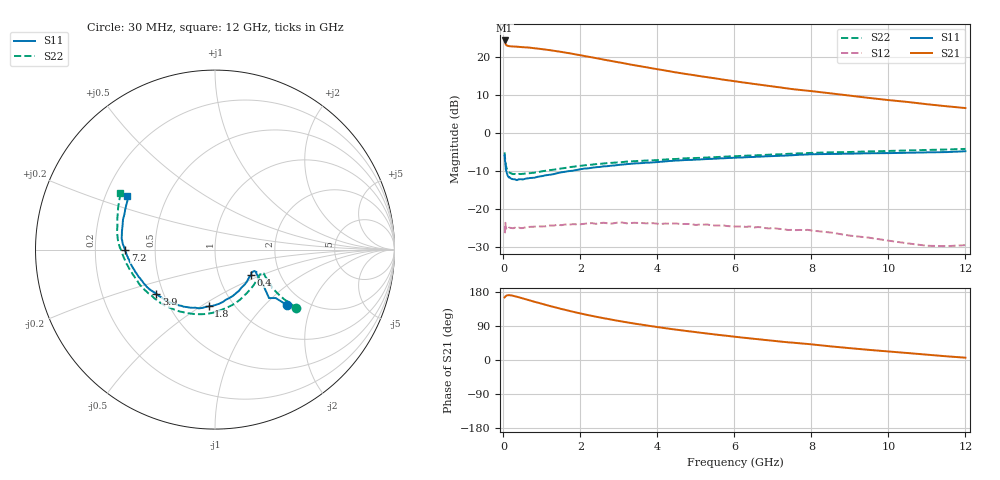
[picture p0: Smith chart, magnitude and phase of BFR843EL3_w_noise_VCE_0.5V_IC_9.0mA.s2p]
! Infineon Technologies  Discrete & RF Semiconductors
! BFR843EL3
! VCE =  0.5 V,  IC =  9.0 mA
! Common Emitter S-Parameters:  Aug 2013
# GHz  S  MA  R  50
!  f  S11  S21  S12  S22
! GHz  MAG  ANG  MAG  ANG  MAG  ANG  MAG  ANG
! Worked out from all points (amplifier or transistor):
!   103 points, 30 MHz to 12 GHz, reference 50 ohm
!   highest |S21| = 24.3 dB at 30 MHz (marker M1)
!   |S21| within 3 dB of that: start of sweep to 1.498 GHz
!   unconditionally stable (mu >= 1): 6.215 GHz to end of sweep
!   at 400 MHz: K = 0.98, MSG = 23.7 dB, |S12| = -24.9 dB
!   at 3.7 GHz: K = 0.78, MSG = 20.5 dB, |S12| = -23.8 dB
!   at 12 GHz: K = 2.90, MAG = 10.5 dB, |S12| = -29.5 dB
!   lowest NFmin = 0.88 dB at 450 MHz
!   S11 on the Smith chart (normalised r, x): 30 MHz: 1.64, -1.36; 400 MHz: 1.43, -0.43; 1.8 GHz: 0.77, -0.54; 3.9 GHz: 0.46, -0.27; 7.2 GHz: 0.33, -0.00; 12 GHz: 0.29, +0.26
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0.03  0.5066 -37.6  16.34 165.2  0.0481 30.3  0.5556 -35.5
0.04  0.4328 -38.6  15.44 166.3  0.0499 25.4  0.4729 -35.7
0.06  0.332 -36.2  14.48 168.6  0.056 9.9  0.3829 -33.7
0.08  0.3066 -34.1  14.11 170.1  0.0551 11.5  0.3465 -31.1
0.12  0.2694 -30.4  13.86 171.0  0.0552 9.6  0.3111 -27.1
0.2  0.2502 -28.5  13.66 170.4  0.0563 6.4  0.2935 -26.0
0.4  0.2457 -34.6  13.46 165.5  0.0569 5.0  0.2887 -32.8
0.8  0.2575 -54.6  12.92 153.8  0.0586 3.5  0.3 -53.4
1.1  0.2772 -69.3  12.39 145.5  0.0593 4.5  0.3181 -68.3
1.5  0.303 -86.0  11.56 134.8  0.0613 3.3  0.3402 -85.5
1.8  0.3179 -96.3  10.9 127.5  0.0632 3.8  0.3586 -96.1
2.1  0.3394 -105.4  10.21 120.6  0.0639 2.3  0.3741 -106.2
2.6  0.3629 -118.8  9.177 110.4  0.066 0.1  0.3964 -119.3
3  0.3796 -127.3  8.414 103.0  0.0668 -2.4  0.4102 -128.0
3.9  0.4099 -142.9  6.988 88.5  0.0651 -5.4  0.4362 -144.0
4.1  0.4177 -146.0  6.722 85.5  0.0637 -6.7  0.4437 -146.6
5.1  0.4468 -159.1  5.561 72.2  0.0626 -9.5  0.4695 -159.8
6.1  0.4742 -169.6  4.688 60.4  0.0588 -11.8  0.4957 -170.0
7.2  0.5001 -179.6  3.946 48.6  0.0546 -14.0  0.5232 -179.6
8.5  0.5281 169.1  3.3 36.0  0.0491 -17.9  0.555 169.5
10.5  0.5476 156.1  2.544 18.4  0.0354 -10.4  0.5874 156.8
12  0.573 148.8  2.116 6.1  0.0335 8.6  0.6153 149.2
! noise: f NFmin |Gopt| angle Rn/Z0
0.45  0.88  0.07  46  0.12
0.9  0.9  0.08  59  0.12
1.5  0.92  0.09  69  0.12
1.9  0.94  0.09  73  0.12
2.4  0.95  0.1  86  0.12
3.5  0.99  0.12  103  0.12
5.5  1.05  0.17  137  0.11
8  1.12  0.28  173  0.08
10  1.18  0.4  211  0.06
